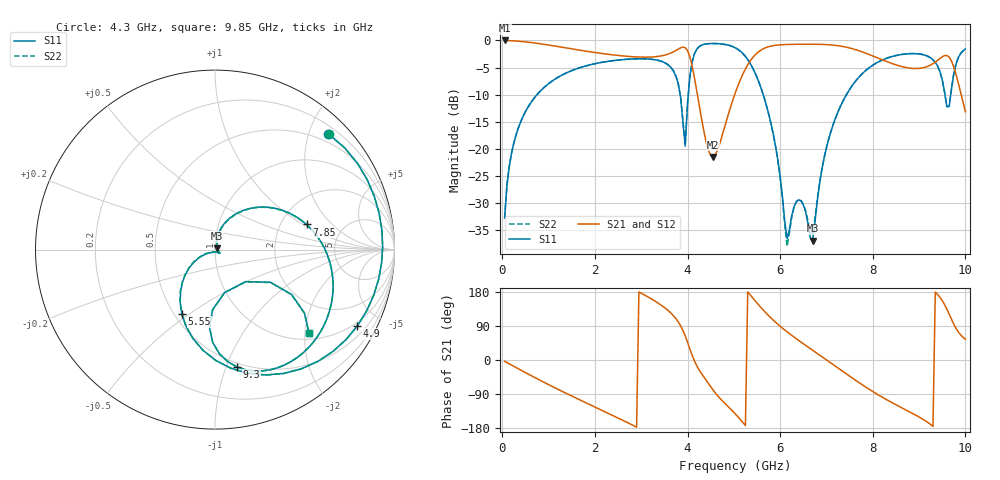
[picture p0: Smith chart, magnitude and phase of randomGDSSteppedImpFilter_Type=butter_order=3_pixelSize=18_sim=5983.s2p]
! freq	dB(S11)	phase(S11)	dB(S12)	phase(S12)
!  dB(S21)	phase(S21)	dB(S22)	phase(S22)
!S-par simulation data
#  GHz  S  DB  R 50
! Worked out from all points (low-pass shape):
!   200 points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, 50 MHz to 10 GHz, reference 50 ohm
!   highest |S21| = -0.01 dB at 50 MHz (marker M1); lowest = -21.5 dB at 4.55 GHz (marker M2)
!   |S21| within 3 dB of the highest: start of sweep to 2.825 GHz; 5.424 GHz to 8.043 GHz (2.619 GHz wide, 38.9 % of centre) (the widest 2 of 4)
!   lowest |S11| = -36.9 dB at 6.7 GHz (marker M3), VSWR 1.03, Z = 51.2 + j0.727 ohm
!   |S11| at or under -10 dB: start of sweep to 749.1 MHz; 3.841 GHz to 4.016 GHz (175 MHz wide, 4.45 % of centre); 5.634 GHz to 7.432 GHz (1.798 GHz wide, 27.5 % of centre) (the widest 3 of 4)
!   |S22| runs from -37.9 to -0.6 dB; largest |S21 - S12| = 0
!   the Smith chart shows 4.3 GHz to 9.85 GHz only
!   S11 on the Smith chart (normalised r, x): 4.3 GHz: 0.33, +2.34; 4.9 GHz: 0.85, -3.81; 5.55 GHz: 0.55, -0.47; 7.85 GHz: 2.78, +1.08; 9.3 GHz: 0.47, -1.09; 9.85 GHz: 1.16, -2.10
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0.05  -32.73 -93.3  -0.01 -3.4  -0.01 -3.4  -32.73 -93.3
0.5  -13.13 -123.8  -0.27 -33.3  -0.27 -33.3  -13.13 -123.8
1.75  -4.83 159.8  -1.91 -109.6  -1.91 -109.6  -4.83 159.8
3.4  -3.75 57.7  -2.90 147.3  -2.90 147.3  -3.75 57.8
3.8  -8.02 17.6  -1.60 100.5  -1.60 100.5  -8.01 17.8
3.95  -19.48 73.7  -1.34 63.5  -1.34 63.5  -19.31 73.4
4.1  -3.94 88.2  -4.73 12.2  -4.73 12.2  -3.93 88.0
4.3  -0.89 45.6  -14.27 -35.6  -14.27 -35.6  -0.89 45.5
4.55  -0.57 12.5  -21.48 -78.8  -21.48 -78.8  -0.57 12.5
4.9  -0.91 -28.2  -13.09 -125.6  -13.09 -125.6  -0.91 -28.2
5.05  -1.45 -47.3  -9.22 -144.7  -9.22 -144.7  -1.45 -47.4
5.55  -7.90 -117.2  -1.99 143.3  -1.99 143.3  -7.90 -117.5
6.15  -36.54 -95.6  -0.75 74.3  -0.75 74.3  -37.92 -93.9
6.4  -29.38 -38.8  -0.71 51.6  -0.71 51.6  -29.35 -34.7
6.7  -36.92 29.8  -0.70 25.8  -0.70 25.8  -35.58 29.3
7.1  -16.69 71.4  -0.83 -8.3  -0.83 -8.3  -16.66 70.5
7.85  -5.53 15.3  -2.35 -71.6  -2.35 -71.6  -5.53 15.1
8.35  -3.14 -19.4  -4.06 -108.2  -4.06 -108.2  -3.13 -19.6
9.3  -3.56 -79.5  -4.28 -175.1  -4.28 -175.1  -3.56 -79.5
9.6  -12.22 -77.3  -2.77 134.2  -2.77 134.2  -12.19 -77.2
9.85  -3.12 -41.4  -7.95 73.6  -7.95 73.6  -3.11 -41.6
10  -1.58 -57.4  -13.14 54.9  -13.14 54.9  -1.58 -57.5
